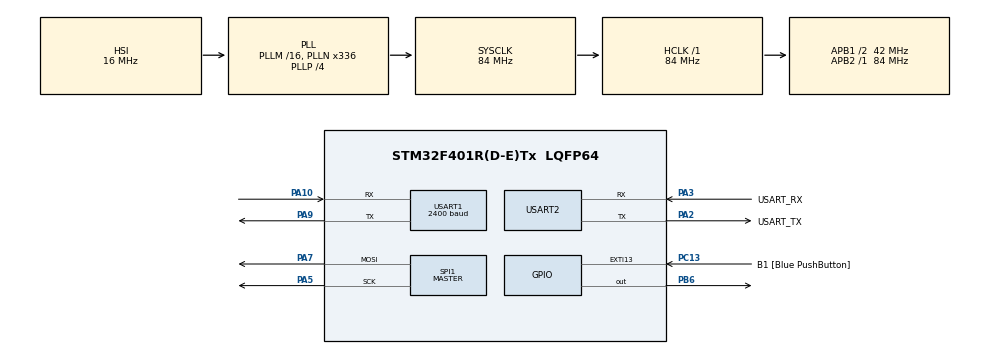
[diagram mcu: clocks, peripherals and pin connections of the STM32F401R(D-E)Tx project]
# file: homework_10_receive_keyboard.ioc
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Dma.Request0=SPI1_TX
Dma.SPI1_TX.0.Direction=DMA_MEMORY_TO_PERIPH
Dma.SPI1_TX.0.FIFOMode=DMA_FIFOMODE_DISABLE
Dma.SPI1_TX.0.Instance=DMA2_Stream3
Dma.SPI1_TX.0.MemDataAlignment=DMA_MDATAALIGN_BYTE
Dma.SPI1_TX.0.MemInc=DMA_MINC_ENABLE
Dma.SPI1_TX.0.Mode=DMA_NORMAL
Dma.SPI1_TX.0.PeriphDataAlignment=DMA_PDATAALIGN_BYTE
Dma.SPI1_TX.0.PeriphInc=DMA_PINC_DISABLE
Dma.SPI1_TX.0.Priority=DMA_PRIORITY_LOW
Mcu.Family=STM32F4
Mcu.Name=STM32F401R(D-E)Tx
Mcu.Package=LQFP64
NVIC.DMA2_Stream3_IRQn=true\:0\:0\:false\:false\:true\:false\:true\:true
NVIC.PriorityGroup=NVIC_PRIORITYGROUP_0
NVIC.TIM1_UP_TIM10_IRQn=true\:0\:0\:false\:false\:true\:true\:true\:true
NVIC.USART1_IRQn=true\:0\:0\:false\:false\:true\:true\:true\:true
NVIC.USART2_IRQn=true\:0\:0\:false\:false\:true\:true\:true\:true
PA10.Mode=Asynchronous
PA10.Signal=USART1_RX
PA13.GPIO_Label=TMS
PA13.Mode=Serial_Wire
PA13.Signal=SYS_JTMS-SWDIO
PA14.GPIO_Label=TCK
PA14.Mode=Serial_Wire
PA14.Signal=SYS_JTCK-SWCLK
PA2.GPIO_Label=USART_TX
PA2.GPIO_Mode=GPIO_MODE_AF_PP
PA2.GPIO_PuPd=GPIO_NOPULL
PA2.GPIO_Speed=GPIO_SPEED_FREQ_LOW
PA2.Mode=Asynchronous
PA2.Signal=USART2_TX
PA3.GPIO_Label=USART_RX
PA3.GPIO_Mode=GPIO_MODE_AF_PP
PA3.GPIO_PuPd=GPIO_NOPULL
PA3.GPIO_Speed=GPIO_SPEED_FREQ_LOW
PA3.Mode=Asynchronous
PA3.Signal=USART2_RX
PA5.Mode=TX_Only_Simplex_Unidirect_Master
PA5.Signal=SPI1_SCK
PA7.Mode=TX_Only_Simplex_Unidirect_Master
PA7.Signal=SPI1_MOSI
PA9.Mode=Asynchronous
PA9.Signal=USART1_TX
PB3.GPIO_Label=SWO
PB3.Signal=SYS_JTDO-SWO
PB6.Signal=GPIO_Output
PC13-ANTI_TAMP.GPIO_Label=B1 [Blue PushButton]
PC13-ANTI_TAMP.GPIO_ModeDefaultEXTI=GPIO_MODE_IT_FALLING
PC13-ANTI_TAMP.GPIO_PuPd=GPIO_NOPULL
PC13-ANTI_TAMP.Signal=GPXTI13
PC14-OSC32_IN.Mode=LSE-External-Oscillator
PC14-OSC32_IN.Signal=RCC_OSC32_IN
PC15-OSC32_OUT.Mode=LSE-External-Oscillator
PC15-OSC32_OUT.Signal=RCC_OSC32_OUT
PH0\ -\ OSC_IN.Mode=HSE-External-Clock-Source
PH0\ -\ OSC_IN.Signal=RCC_OSC_IN
PH1\ -\ OSC_OUT.Mode=HSE-External-Clock-Source
PH1\ -\ OSC_OUT.Signal=RCC_OSC_OUT
ProjectManager.HeapSize=0x200
ProjectManager.StackSize=0x400
ProjectManager.TargetToolchain=STM32CubeIDE
RCC.48MHZClocksFreq_Value=48000000
RCC.AHBFreq_Value=84000000
RCC.APB1CLKDivider=RCC_HCLK_DIV2
RCC.APB1Freq_Value=42000000
RCC.APB1TimFreq_Value=84000000
RCC.APB2Freq_Value=84000000
RCC.APB2TimFreq_Value=84000000
RCC.CortexFreq_Value=84000000
RCC.HCLKFreq_Value=84000000
RCC.HSE_VALUE=8000000
RCC.HSI_VALUE=16000000
RCC.PLLN=336
RCC.PLLP=RCC_PLLP_DIV4
RCC.PLLQ=7
RCC.SYSCLKFreq_VALUE=84000000
RCC.SYSCLKSource=RCC_SYSCLKSOURCE_PLLCLK
RCC.VCOOutputFreq_Value=336000000
SPI1.BaudRatePrescaler=SPI_BAUDRATEPRESCALER_4
SPI1.Direction=SPI_DIRECTION_2LINES
SPI1.Mode=SPI_MODE_MASTER
SPI1.VirtualType=VM_MASTER
TIM10.Period=4000-1
TIM10.Prescaler=84-1
USART1.BaudRate=2400
USART1.Mode=MODE_RX
USART1.Parity=PARITY_ODD
USART1.VirtualMode=VM_ASYNC
USART2.VirtualMode=VM_ASYNC
VP_TIM10_VS_ClockSourceINT.Mode=Enable_Timer
board=NUCLEO-F401RE

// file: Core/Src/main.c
/* USER CODE BEGIN Header */
/**
  ******************************************************************************
  * @file           : main.c
  * @brief          : Main program body
  ******************************************************************************
  * @attention
  *
  * Copyright (c) 2023 STMicroelectronics.
  * All rights reserved.
  *
  * This software is licensed under terms that can be found in the LICENSE file
  * in the root directory of this software component.
  * If no LICENSE file comes with this software, it is provided AS-IS.
  *
  ******************************************************************************
  */
/* USER CODE END Header */
#include "main.h"

/* USER CODE BEGIN PD */
#define RCLK_PIN GPIOB, GPIO_PIN_6
/* USER CODE END PD */

SPI_HandleTypeDef hspi1;
DMA_HandleTypeDef hdma_spi1_tx;

TIM_HandleTypeDef htim10;

UART_HandleTypeDef huart1;
UART_HandleTypeDef huart2;

/* USER CODE BEGIN PV */
int column_index = 0;

uint8_t matrix[5][2] = {
		{31, 16},
		{36, 8},
		{68, 4},
		{36, 2},
		{31, 1},
};

uint8_t matrix_QM[5][2] = {
		{0, 16},
		{32, 8},
		{69, 4},
		{72, 2},
		{48, 1},
};

uint8_t matrix_A[5][2] = {
		{31, 16},
		{36, 8},
		{68, 4},
		{36, 2},
		{31, 1},
};

uint8_t matrix_B[5][2] = {
		{127, 16},
		{73, 8},
		{73, 4},
		{73, 2},
		{54, 1},
};

uint8_t matrix_C[5][2] = {
		{62, 16},
		{65, 8},
		{65, 4},
		{65, 2},
		{34, 1},
};

uint8_t matrix_D[5][2] = {
		{127, 16},
		{65, 8},
		{65, 4},
		{65, 2},
		{62, 1},
};

uint8_t matrix_E[5][2] = {
		{127, 16},
		{73, 8},
		{73, 4},
		{73, 2},
		{73, 1},
};

uint8_t matrix_F[5][2] = {
		{127, 16},
		{72, 8},
		{72, 4},
		{72, 2},
		{72, 1},
};

uint8_t matrix_0[5][2] = {
		{62, 16},
		{113, 8},
		{73, 4},
		{71, 2},
		{62, 1},
};

uint8_t matrix_1[5][2] = {
		{16, 16},
		{33, 8},
		{127, 4},
		{1, 2},
		{0, 1},
};

uint8_t matrix_2[5][2] = {
		{33, 16},
		{67, 8},
		{69, 4},
		{73, 2},
		{49, 1},
};

uint8_t matrix_3[5][2] = {
		{34, 16},
		{65, 8},
		{73, 4},
		{73, 2},
		{54, 1},
};

uint8_t matrix_4[5][2] = {
		{120, 16},
		{8, 8},
		{8, 4},
		{8, 2},
		{127, 1},
};

uint8_t matrix_5[5][2] = {
		{114, 16},
		{81, 8},
		{81, 4},
		{81, 2},
		{78, 1},
};

uint8_t matrix_6[5][2] = {
		{62, 16},
		{73, 8},
		{73, 4},
		{73, 2},
		{38, 1},
};

uint8_t matrix_7[5][2] = {
		{64, 16},
		{64, 8},
		{79, 4},
		{80, 2},
		{96, 1}
};

uint8_t matrix_8[5][2] = {
		{54, 16},
		{73, 8},
		{73, 4},
		{73, 2},
		{54, 1}
};

uint8_t matrix_9[5][2] = {
		{50, 16},
		{73, 8},
		{73, 4},
		{73, 2},
		{62, 1}
};

/* USER CODE END PV */

void SystemClock_Config(void);
static void MX_GPIO_Init(void);
static void MX_DMA_Init(void);
static void MX_USART2_UART_Init(void);
static void MX_SPI1_Init(void);
static void MX_USART1_UART_Init(void);
static void MX_TIM10_Init(void);

/* USER CODE BEGIN 0 */
char RX_byte = 0;
char command = 0;
int new_command = 0;
char RX_byte2 = 0;

uint8_t CharMAP[256][5][2] = {
	{32, 16},
	{64, 8},
	{69, 4},
	{72, 2},
	{48, 1}
};

void init_char_map(void) {
	for(int i = 0; i < 256; i++) {
		memcpy(CharMAP[i], matrix_QM, sizeof(matrix_QM));
	}

	memcpy(CharMAP[(uint8_t)'0'], matrix_0, sizeof(matrix_0));
	memcpy(CharMAP[(uint8_t)'1'], matrix_1, sizeof(matrix_1));
	memcpy(CharMAP[(uint8_t)'2'], matrix_2, sizeof(matrix_2));
	memcpy(CharMAP[(uint8_t)'3'], matrix_3, sizeof(matrix_3));
	memcpy(CharMAP[(uint8_t)'4'], matrix_4, sizeof(matrix_4));
	memcpy(CharMAP[(uint8_t)'5'], matrix_5, sizeof(matrix_5));
	memcpy(CharMAP[(uint8_t)'6'], matrix_6, sizeof(matrix_6));
	memcpy(CharMAP[(uint8_t)'7'], matrix_7, sizeof(matrix_7));
	memcpy(CharMAP[(uint8_t)'8'], matrix_8, sizeof(matrix_8));
	memcpy(CharMAP[(uint8_t)'9'], matrix_9, sizeof(matrix_9));
	memcpy(CharMAP[(uint8_t)'A'], matrix_A, sizeof(matrix_A));
	memcpy(CharMAP[(uint8_t)'B'], matrix_B, sizeof(matrix_B));
	memcpy(CharMAP[(uint8_t)'C'], matrix_C, sizeof(matrix_C));
	memcpy(CharMAP[(uint8_t)'D'], matrix_D, sizeof(matrix_D));
	memcpy(CharMAP[(uint8_t)'E'], matrix_E, sizeof(matrix_E));
	memcpy(CharMAP[(uint8_t)'F'], matrix_F, sizeof(matrix_F));
}

void show_letter(char digit) {
	memcpy(matrix, CharMAP[(uint8_t) digit], sizeof(matrix));
}
/* USER CODE END 0 */

int main(void)
{

  /* MCU Configuration--------------------------------------------------------*/

  /* Reset of all peripherals, Initializes the Flash interface and the Systick. */
  HAL_Init();

  /* Configure the system clock */
  SystemClock_Config();

  /* Initialize all configured peripherals */
  MX_GPIO_Init();
  MX_DMA_Init();
  MX_USART2_UART_Init();
  MX_SPI1_Init();
  MX_USART1_UART_Init();
  MX_TIM10_Init();
  /* USER CODE BEGIN 2 */
  init_char_map();
  HAL_UART_Receive_IT(&huart1, &RX_byte, 1);
  HAL_TIM_Base_Start_IT(&htim10);
  /* USER CODE END 2 */

  /* Infinite loop */
  /* USER CODE BEGIN WHILE */
  while (1)
  {
	if(new_command) {
		show_letter(command);
		new_command = 0;
	}
    /* USER CODE END WHILE */

  }
}

void SystemClock_Config(void)
{
  RCC_OscInitTypeDef RCC_OscInitStruct = {0};
  RCC_ClkInitTypeDef RCC_ClkInitStruct = {0};

  /** Configure the main internal regulator output voltage
  */
  __HAL_RCC_PWR_CLK_ENABLE();
  __HAL_PWR_VOLTAGESCALING_CONFIG(PWR_REGULATOR_VOLTAGE_SCALE2);

  /** Initializes the RCC Oscillators according to the specified parameters
  * in the RCC_OscInitTypeDef structure.
  */
  RCC_OscInitStruct.OscillatorType = RCC_OSCILLATORTYPE_HSI;
  RCC_OscInitStruct.HSIState = RCC_HSI_ON;
  RCC_OscInitStruct.HSICalibrationValue = RCC_HSICALIBRATION_DEFAULT;
  RCC_OscInitStruct.PLL.PLLState = RCC_PLL_ON;
  RCC_OscInitStruct.PLL.PLLSource = RCC_PLLSOURCE_HSI;
  RCC_OscInitStruct.PLL.PLLM = 16;
  RCC_OscInitStruct.PLL.PLLN = 336;
  RCC_OscInitStruct.PLL.PLLP = RCC_PLLP_DIV4;
  RCC_OscInitStruct.PLL.PLLQ = 7;
  if (HAL_RCC_OscConfig(&RCC_OscInitStruct) != HAL_OK)
  {
    Error_Handler();
  }

  /** Initializes the CPU, AHB and APB buses clocks
  */
  RCC_ClkInitStruct.ClockType = RCC_CLOCKTYPE_HCLK|RCC_CLOCKTYPE_SYSCLK
                              |RCC_CLOCKTYPE_PCLK1|RCC_CLOCKTYPE_PCLK2;
  RCC_ClkInitStruct.SYSCLKSource = RCC_SYSCLKSOURCE_PLLCLK;
  RCC_ClkInitStruct.AHBCLKDivider = RCC_SYSCLK_DIV1;
  RCC_ClkInitStruct.APB1CLKDivider = RCC_HCLK_DIV2;
  RCC_ClkInitStruct.APB2CLKDivider = RCC_HCLK_DIV1;

  if (HAL_RCC_ClockConfig(&RCC_ClkInitStruct, FLASH_LATENCY_2) != HAL_OK)
  {
    Error_Handler();
  }
}

static void MX_SPI1_Init(void)
{

  /* SPI1 parameter configuration*/
  hspi1.Instance = SPI1;
  hspi1.Init.Mode = SPI_MODE_MASTER;
  hspi1.Init.Direction = SPI_DIRECTION_2LINES;
  hspi1.Init.DataSize = SPI_DATASIZE_8BIT;
  hspi1.Init.CLKPolarity = SPI_POLARITY_LOW;
  hspi1.Init.CLKPhase = SPI_PHASE_1EDGE;
  hspi1.Init.NSS = SPI_NSS_SOFT;
  hspi1.Init.BaudRatePrescaler = SPI_BAUDRATEPRESCALER_4;
  hspi1.Init.FirstBit = SPI_FIRSTBIT_MSB;
  hspi1.Init.TIMode = SPI_TIMODE_DISABLE;
  hspi1.Init.CRCCalculation = SPI_CRCCALCULATION_DISABLE;
  hspi1.Init.CRCPolynomial = 10;
  if (HAL_SPI_Init(&hspi1) != HAL_OK)
  {
    Error_Handler();
  }

}

static void MX_TIM10_Init(void)
{

  htim10.Instance = TIM10;
  htim10.Init.Prescaler = 84-1;
  htim10.Init.CounterMode = TIM_COUNTERMODE_UP;
  htim10.Init.Period = 4000-1;
  htim10.Init.ClockDivision = TIM_CLOCKDIVISION_DIV1;
  htim10.Init.AutoReloadPreload = TIM_AUTORELOAD_PRELOAD_DISABLE;
  if (HAL_TIM_Base_Init(&htim10) != HAL_OK)
  {
    Error_Handler();
  }

}

static void MX_USART1_UART_Init(void)
{

  huart1.Instance = USART1;
  huart1.Init.BaudRate = 2400;
  huart1.Init.WordLength = UART_WORDLENGTH_8B;
  huart1.Init.StopBits = UART_STOPBITS_1;
  huart1.Init.Parity = UART_PARITY_ODD;
  huart1.Init.Mode = UART_MODE_RX;
  huart1.Init.HwFlowCtl = UART_HWCONTROL_NONE;
  huart1.Init.OverSampling = UART_OVERSAMPLING_16;
  if (HAL_UART_Init(&huart1) != HAL_OK)
  {
    Error_Handler();
  }

}

static void MX_USART2_UART_Init(void)
{

  huart2.Instance = USART2;
  huart2.Init.BaudRate = 115200;
  huart2.Init.WordLength = UART_WORDLENGTH_8B;
  huart2.Init.StopBits = UART_STOPBITS_1;
  huart2.Init.Parity = UART_PARITY_NONE;
  huart2.Init.Mode = UART_MODE_TX_RX;
  huart2.Init.HwFlowCtl = UART_HWCONTROL_NONE;
  huart2.Init.OverSampling = UART_OVERSAMPLING_16;
  if (HAL_UART_Init(&huart2) != HAL_OK)
  {
    Error_Handler();
  }

}

static void MX_DMA_Init(void)
{

  /* DMA controller clock enable */
  __HAL_RCC_DMA2_CLK_ENABLE();

  /* DMA interrupt init */
  /* DMA2_Stream3_IRQn interrupt configuration */
  HAL_NVIC_SetPriority(DMA2_Stream3_IRQn, 0, 0);
  HAL_NVIC_EnableIRQ(DMA2_Stream3_IRQn);

}

static void MX_GPIO_Init(void)
{
  GPIO_InitTypeDef GPIO_InitStruct = {0};

  /* GPIO Ports Clock Enable */
  __HAL_RCC_GPIOC_CLK_ENABLE();
  __HAL_RCC_GPIOH_CLK_ENABLE();
  __HAL_RCC_GPIOA_CLK_ENABLE();
  __HAL_RCC_GPIOB_CLK_ENABLE();

  /*Configure GPIO pin Output Level */
  HAL_GPIO_WritePin(GPIOB, GPIO_PIN_6, GPIO_PIN_RESET);

  /*Configure GPIO pin : B1_Pin */
  GPIO_InitStruct.Pin = B1_Pin;
  GPIO_InitStruct.Mode = GPIO_MODE_IT_FALLING;
  GPIO_InitStruct.Pull = GPIO_NOPULL;
  HAL_GPIO_Init(B1_GPIO_Port, &GPIO_InitStruct);

  /*Configure GPIO pin : PB6 */
  GPIO_InitStruct.Pin = GPIO_PIN_6;
  GPIO_InitStruct.Mode = GPIO_MODE_OUTPUT_PP;
  GPIO_InitStruct.Pull = GPIO_NOPULL;
  GPIO_InitStruct.Speed = GPIO_SPEED_FREQ_LOW;
  HAL_GPIO_Init(GPIOB, &GPIO_InitStruct);

}

/* USER CODE BEGIN 4 */
void HAL_UART_RxCpltCallback(UART_HandleTypeDef *huart) {
	if(huart == &huart1) {
		HAL_UART_Receive_IT(&huart1, &RX_byte, 1);
		command = RX_byte;
		new_command = 1;
	}

	char debug[8];
	int len = snprintf(debug, 8, "%c", RX_byte);
	HAL_UART_Transmit(&huart2, &debug, len, 10);
}

void HAL_TIM_PeriodElapsedCallback(TIM_HandleTypeDef *htim) {
	if(htim != &htim10) return;

	HAL_GPIO_WritePin(RCLK_PIN, GPIO_PIN_RESET);
	HAL_SPI_Transmit_DMA(&hspi1, matrix[column_index], 2);
	if(++column_index > 4) column_index = 0;
}

void HAL_SPI_TxCpltCallback(SPI_HandleTypeDef *hspi) {
	if(hspi != &hspi1) return;

	HAL_GPIO_WritePin(RCLK_PIN, GPIO_PIN_SET);
}
/* USER CODE END 4 */

void Error_Handler(void)
{
  __disable_irq();
  while (1)
  {
  }
}
